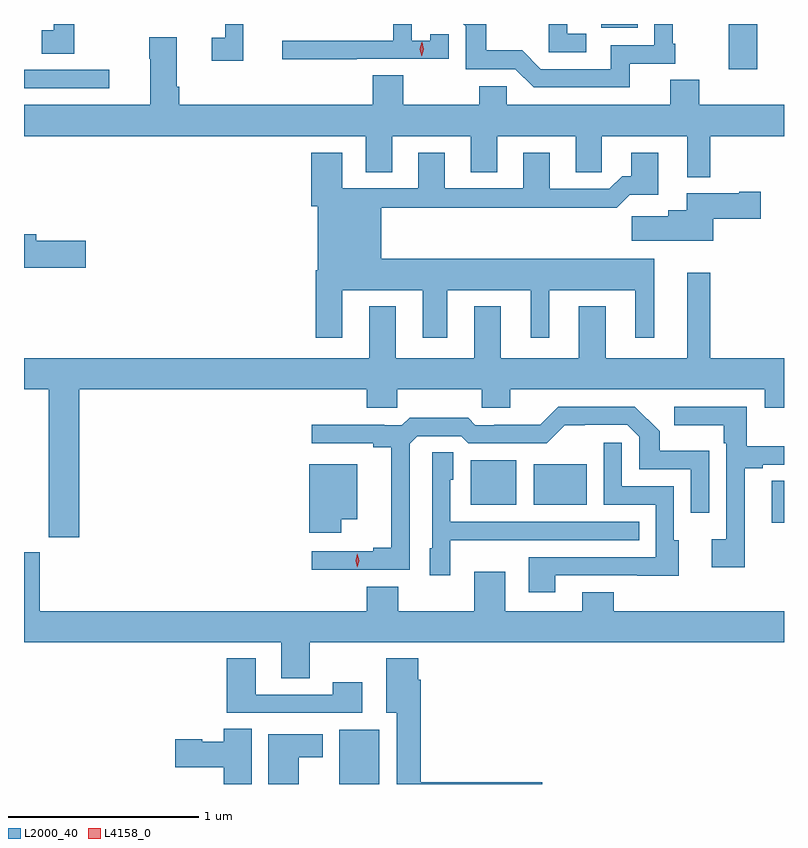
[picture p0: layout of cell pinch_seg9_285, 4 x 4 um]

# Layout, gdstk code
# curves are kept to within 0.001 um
import gdstk
lib = gdstk.Library(unit=1e-6, precision=1e-09)
def R(c, l, rs):  # rectangles x0, y0, x1, y1
    for r in rs: c.add(gdstk.rectangle(r[:2], r[2:], *l))
def P(c, l, *ps):  # polygons
    for p in ps: c.add(gdstk.Polygon(p, *l))
L2000_40 = (2000, 40)
L4158_0 = (4158, 0)

pinch_seg9_285 = lib.new_cell('pinch_seg9_285')
R(pinch_seg9_285, L2000_40, [(448.562,1186.35,448.774,1186.636), (450.839,1187.726,450.904,1187.945), (449.255,1187.819,449.494,1188.055), (449.588,1187.819,449.866,1188.034), (446.904,1190.013,447.352,1190.109), (450.613,1190.112,450.762,1190.35), (449.942,1190.33,450.133,1190.35)])
P(pinch_seg9_285, L2000_40, [(450.092,1190.142),(450.331,1190.142),(450.331,1190.245),(450.318,1190.245),(450.318,1190.35),(450.222,1190.35),(450.222,1190.238),(449.993,1190.238),(449.993,1190.112),(449.625,1190.112),(449.527,1190.211),(449.338,1190.211),(449.338,1190.35),(449.216,1190.35),(449.229,1190.337),(449.229,1190.112),(449.49,1190.112),(449.586,1190.016),(450.092,1190.016)],
  [(448.655,1190.166),(449.139,1190.166),(449.139,1190.295),(449.043,1190.295),(449.043,1190.263),(448.944,1190.263),(448.944,1190.35),(448.848,1190.35),(448.848,1190.262),(448.263,1190.262),(448.263,1190.164),(448.655,1190.164)],
  [(448.059,1190.35),(447.962,1190.35),(447.962,1190.277),(447.891,1190.277),(447.891,1190.157),(448.059,1190.157)],
  [(447.169,1190.35),(447.06,1190.35),(447.06,1190.316),(446.997,1190.316),(446.997,1190.194),(447.169,1190.194)],
  [(449.863,1190.298),(449.763,1190.298),(449.763,1190.35),(449.666,1190.35),(449.666,1190.202),(449.863,1190.202)],
  [(450.517,1189.76),(450.904,1189.76),(450.904,1189.924),(450.458,1189.924),(450.458,1190.057),(450.305,1190.057),(450.305,1189.924),(449.445,1189.924),(449.445,1190.022),(449.299,1190.022),(449.299,1189.924),(448.899,1189.924),(448.899,1190.081),(448.739,1190.081),(448.739,1189.924),(447.722,1189.924),(447.722,1190.02),(447.709,1190.02),(447.709,1190.281),(447.562,1190.281),(447.562,1190.168),(447.569,1190.168),(447.569,1189.924),(446.904,1189.924),(446.904,1189.76),(448.703,1189.76),(448.703,1189.57),(448.843,1189.57),(448.843,1189.76),(449.255,1189.76),(449.255,1189.57),(449.395,1189.57),(449.395,1189.76),(449.807,1189.76),(449.807,1189.57),(449.946,1189.57),(449.946,1189.76),(450.395,1189.76),(450.395,1189.544),(450.517,1189.544)],
  [(448.579,1188.95),(449.003,1188.95),(449.003,1188.699),(449.131,1188.699),(449.131,1188.95),(449.57,1188.95),(449.57,1188.699),(449.668,1188.699),(449.668,1188.95),(450.122,1188.95),(450.122,1188.699),(450.22,1188.699),(450.22,1189.114),(448.783,1189.114),(448.783,1189.384),(449.767,1189.384),(449.767,1189.382),(450.023,1189.382),(450.092,1189.451),(450.241,1189.451),(450.241,1189.672),(450.101,1189.672),(450.101,1189.549),(450.052,1189.549),(449.985,1189.482),(449.671,1189.482),(449.671,1189.672),(449.531,1189.672),(449.531,1189.485),(449.119,1189.485),(449.119,1189.672),(448.979,1189.672),(448.979,1189.485),(448.579,1189.485),(448.579,1189.672),(448.415,1189.672),(448.415,1189.392),(448.451,1189.392),(448.451,1189.054),(448.439,1189.054),(448.439,1188.699),(448.579,1188.699)],
  [(450.532,1189.325),(450.781,1189.325),(450.781,1189.467),(450.668,1189.467),(450.668,1189.459),(450.392,1189.459),(450.392,1189.369),(450.296,1189.369),(450.296,1189.337),(450.102,1189.337),(450.102,1189.208),(450.532,1189.208)],
  [(447.229,1189.208),(446.968,1189.208),(446.968,1189.244),(446.904,1189.244),(446.904,1189.066),(447.229,1189.066)],
  [(447.194,1188.428),(448.709,1188.428),(448.709,1188.33),(448.869,1188.33),(448.869,1188.428),(449.314,1188.428),(449.314,1188.33),(449.464,1188.33),(449.464,1188.428),(450.803,1188.428),(450.803,1188.329),(450.904,1188.329),(450.904,1188.592),(450.517,1188.592),(450.517,1189.042),(450.395,1189.042),(450.395,1188.592),(449.965,1188.592),(449.965,1188.865),(449.825,1188.865),(449.825,1188.592),(449.413,1188.592),(449.413,1188.865),(449.273,1188.865),(449.273,1188.592),(448.861,1188.592),(448.861,1188.865),(448.721,1188.865),(448.721,1188.592),(446.904,1188.592),(446.904,1188.428),(447.034,1188.428),(447.034,1187.649),(447.194,1187.649)],
  [(450.697,1188.012),(450.793,1188.012),(450.793,1188.03),(450.904,1188.03),(450.904,1188.128),(450.709,1188.128),(450.709,1188.336),(450.327,1188.336),(450.327,1188.239),(450.588,1188.239),(450.588,1188.143),(450.6,1188.143),(450.6,1187.638),(450.525,1187.638),(450.525,1187.49),(450.697,1187.49)],
  [(448.935,1188.141),(448.974,1188.18),(449.205,1188.18),(449.241,1188.144),(449.655,1188.144),(449.75,1188.239),(450.078,1188.24),(450.141,1188.177),(450.141,1188.006),(450.414,1188.006),(450.414,1187.778),(450.51,1187.778),(450.51,1188.103),(450.249,1188.103),(450.249,1188.206),(450.118,1188.336),(449.715,1188.336),(449.621,1188.242),(449.38,1188.242),(449.38,1188.237),(449.28,1188.237),(449.241,1188.277),(448.933,1188.277),(448.893,1188.237),(448.799,1188.237),(448.799,1188.242),(448.419,1188.242),(448.419,1188.144),(448.742,1188.144),(448.742,1188.122),(448.838,1188.122),(448.838,1187.594),(448.742,1187.594),(448.742,1187.574),(448.419,1187.574),(448.419,1187.478),(448.935,1187.478)],
  [(449.701,1187.448),(450.131,1187.448),(450.131,1187.447),(450.349,1187.447),(450.349,1187.634),(450.324,1187.634),(450.324,1187.916),(450.051,1187.916),(450.051,1188.145),(449.955,1188.145),(449.955,1187.82),(450.228,1187.82),(450.228,1187.544),(449.561,1187.544),(449.561,1187.358),(449.701,1187.358)],
  [(449.148,1187.633),(449.465,1187.633),(449.465,1187.634),(450.143,1187.634),(450.143,1187.73),(449.148,1187.73),(449.148,1187.952),(449.164,1187.952),(449.164,1188.095),(449.052,1188.095),(449.052,1187.592),(449.039,1187.592),(449.039,1187.448),(449.148,1187.448)],
  [(448.573,1187.744),(448.657,1187.744),(448.657,1188.034),(448.406,1188.034),(448.406,1187.672),(448.573,1187.672)],
  [(448.407,1187.096),(450.904,1187.096),(450.904,1187.26),(450.007,1187.26),(450.007,1187.359),(449.843,1187.359),(449.843,1187.26),(449.437,1187.26),(449.437,1187.467),(449.273,1187.467),(449.273,1187.26),(448.873,1187.26),(448.873,1187.389),(448.709,1187.389),(448.709,1187.26),(446.986,1187.26),(446.986,1187.569),(446.904,1187.569),(446.904,1187.096),(448.259,1187.096),(448.259,1186.906),(448.407,1186.906)],
  [(448.684,1186.885),(448.528,1186.885),(448.528,1186.821),(448.123,1186.821),(448.123,1187.011),(447.971,1187.011),(447.971,1186.725),(448.684,1186.725)],
  [(449.632,1186.358),(448.991,1186.358),(448.991,1186.898),(448.978,1186.898),(448.978,1187.011),(448.811,1187.011),(448.811,1186.724),(448.865,1186.724),(448.865,1186.35),(449.632,1186.35)],
  [(448.102,1186.64),(447.956,1186.64),(447.956,1186.573),(447.842,1186.573),(447.842,1186.586),(447.699,1186.586),(447.699,1186.439),(447.956,1186.439),(447.956,1186.35),(448.102,1186.35)],
  [(448.351,1186.49),(448.477,1186.49),(448.477,1186.612),(448.19,1186.612),(448.19,1186.35),(448.351,1186.35)])
P(pinch_seg9_285, L4158_0, [(448.997,1190.181),(448.997,1190.181),(448.988,1190.217),(448.998,1190.253),(448.998,1190.253),(448.999,1190.253),(449.008,1190.217),(448.997,1190.181)],
  [(448.658,1187.49),(448.658,1187.49),(448.649,1187.526),(448.659,1187.562),(448.659,1187.562),(448.659,1187.562),(448.669,1187.526),(448.659,1187.49)])

lib.write_gds('pinch_seg9_285.gds')
